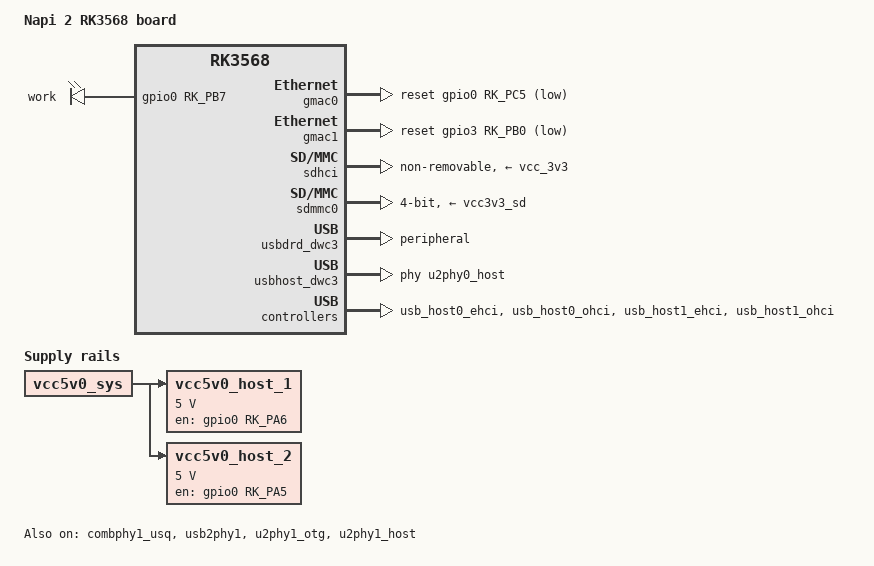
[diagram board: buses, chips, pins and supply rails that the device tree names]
/*
 * SPDX-License-Identifier:     GPL-2.0+
 * Copyright (c) 2020 Rockchip Electronics Co., Ltd.
 * Copyright (c) 2024 Radxa Limited
 */

/dts-v1/;
#include "rk3568-radxa-cm3i.dtsi"

/ {
	model = "Napi 2 RK3568 board";
	compatible = "nnz,napi-2", "rockchip,rk3568";

	/delete-node/ led-sys;

	chosen {
		stdout-path = "serial2:1500000n8";
		u-boot,spl-boot-order = &sdmmc0, &sdhci;
	};

	leds {
		u-boot,dm-pre-reloc;
		compatible = "gpio-leds";

		work {
			label = "work";
			gpios = <&gpio0 RK_PB7 GPIO_ACTIVE_HIGH>;
		};
	};

	vcc5v0_host_1: vcc5v0-host-1 {
		u-boot,dm-pre-reloc;
		compatible = "regulator-fixed";
		regulator-name = "vcc5v0_host_1";
		regulator-min-microvolt = <5000000>;
		regulator-max-microvolt = <5000000>;
		gpio = <&gpio0 RK_PA6 GPIO_ACTIVE_HIGH>;
		enable-active-high;
		regulator-boot-on;
		regulator-always-on;
		vin-supply = <&vcc5v0_sys>;
	};

	vcc5v0_host_2: vcc5v0-host-2 {
		u-boot,dm-pre-reloc;
		compatible = "regulator-fixed";
		regulator-name = "vcc5v0_host_2";
		regulator-min-microvolt = <5000000>;
		regulator-max-microvolt = <5000000>;
		gpio = <&gpio0 RK_PA5 GPIO_ACTIVE_HIGH>;
		enable-active-high;
		regulator-boot-on;
		regulator-always-on;
		vin-supply = <&vcc5v0_sys>;
	};
};

&gmac0 {
	snps,reset-gpio = <&gpio0 RK_PC5 GPIO_ACTIVE_LOW>;
	tx_delay = <0x38>;
	rx_delay = <0x07>;
	status = "okay";
};

&gmac1 {
	snps,reset-gpio = <&gpio3 RK_PB0 GPIO_ACTIVE_LOW>;
	tx_delay = <0x4c>;
	rx_delay = <0x22>;
	status = "okay";
};

&gpio3 {
	u-boot,dm-pre-reloc;
};

&pmu_io_domains {
	pmuio2-supply = <&vcc3v3_pmu>;
	vccio4-supply = <&vcc_3v3>;
	vccio6-supply = <&vcc_3v3>;
};

&rk809 {
	vcc1-supply = <&vcc5v0_sys>;
	vcc2-supply = <&vcc5v0_sys>;
	vcc3-supply = <&vcc5v0_sys>;
	vcc4-supply = <&vcc5v0_sys>;
};

&sdhci {
	non-removable;
	max-frequency = <200000000>;
	vmmc-supply = <&vcc_3v3>;
	vqmmc-supply = <&vcc_1v8>;
};

&sdmmc0 {
	bus-width = <4>;
	cap-sd-highspeed;
	disable-wp;
	sd-uhs-sdr104;
	max-frequency = <150000000>;
	vmmc-supply = <&vcc3v3_sd>;
	vqmmc-supply = <&vccio_sd>;
	pinctrl-names = "default";
	pinctrl-0 = <&sdmmc0_bus4 &sdmmc0_clk &sdmmc0_cmd &sdmmc0_det>;
};

&sdmmc1 {
	status = "disabled";
};

&nandc0 {
	status = "disabled";
};

&sfc {
	status = "disabled";
};

&pcie30phy {
	status = "disabled";
};

&pcie3x2 {
	status = "disabled";
};

&u2phy0_host {
	phy-supply = <&vcc5v0_host_2>;
};

&usbdrd_dwc3 {
	dr_mode = "peripheral";
};

&combphy1_usq {
	u-boot,dm-pre-reloc;
	status = "okay";
};

&pipe_phy_grf1 {
	u-boot,dm-pre-reloc;
};

&usbhost_dwc3 {
	phys = <&u2phy0_host>, <&combphy1_usq PHY_TYPE_USB3>;
	phy-names = "usb2-phy", "usb3-phy";
};

&usb2phy1_grf {
	u-boot,dm-pre-reloc;
};

&usb2phy1 {
	u-boot,dm-pre-reloc;
	status = "okay";
};

&u2phy1_otg {
	u-boot,dm-pre-reloc;
	phy-supply = <&vcc5v0_host_1>;
	status = "okay";
};

&u2phy1_host {
	u-boot,dm-pre-reloc;
	status = "okay";
};

&usb_host0_ehci {
	u-boot,dm-pre-reloc;
	status = "okay";
};

&usb_host0_ohci {
	u-boot,dm-pre-reloc;
	status = "okay";
};

&usb_host1_ehci {
	u-boot,dm-pre-reloc;
	status = "okay";
};

&usb_host1_ohci {
	u-boot,dm-pre-reloc;
	status = "okay";
};
